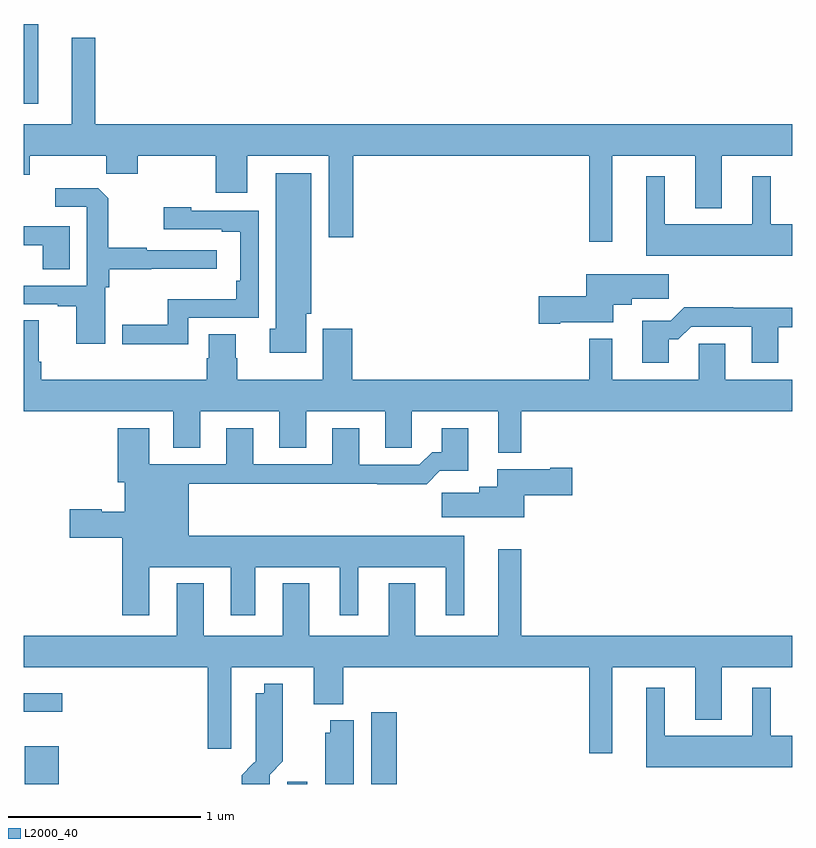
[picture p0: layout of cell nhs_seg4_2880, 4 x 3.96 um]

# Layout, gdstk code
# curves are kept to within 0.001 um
import gdstk
lib = gdstk.Library(unit=1e-6, precision=1e-09)
def R(c, l, rs):  # rectangles x0, y0, x1, y1
    for r in rs: c.add(gdstk.rectangle(r[:2], r[2:], *l))
def P(c, l, *ps):  # polygons
    for p in ps: c.add(gdstk.Polygon(p, *l))
L2000_40 = (2000, 40)

nhs_seg4_2880 = lib.new_cell('nhs_seg4_2880')
R(nhs_seg4_2880, L2000_40, [(263.003,774.9,263.182,775.096), (264.371,774.9,264.475,774.913), (264.809,774.9,264.941,775.273), (263,775.275,263.2,775.372), (263,778.443,263.074,778.858)])
P(nhs_seg4_2880, L2000_40, [(266.065,778.172),(266.495,778.172),(266.495,777.899),(266.635,777.899),(266.635,778.172),(267,778.172),(267,778.336),(263.371,778.336),(263.371,778.786),(263.249,778.786),(263.249,778.336),(263,778.336),(263,778.073),(263.029,778.073),(263.029,778.172),(263.429,778.172),(263.429,778.079),(263.593,778.079),(263.593,778.172),(263.999,778.172),(263.999,777.978),(264.163,777.978),(264.163,778.172),(264.587,778.172),(264.587,777.747),(264.716,777.747),(264.716,778.172),(265.944,778.172),(265.944,777.723),(266.065,777.723)],
  [(264.469,777.348),(264.496,777.348),(264.496,778.081),(264.311,778.081),(264.311,777.272),(264.281,777.272),(264.281,777.146),(264.469,777.146)],
  [(267,777.814),(266.89,777.814),(266.89,778.066),(266.792,778.066),(266.792,777.814),(266.338,777.814),(266.338,778.066),(266.24,778.066),(266.24,777.65),(267,777.65)],
  [(263.424,777.488),(263.444,777.488),(263.444,777.58),(263.663,777.58),(263.663,777.584),(264.004,777.584),(264.004,777.681),(263.639,777.681),(263.639,777.694),(263.439,777.694),(263.439,777.951),(263.387,778.003),(263.163,778.003),(263.163,777.906),(263.328,777.906),(263.328,777.495),(263,777.495),(263,777.399),(263.177,777.399),(263.177,777.387),(263.273,777.387),(263.273,777.192),(263.424,777.192)],
  [(263.856,777.327),(264.222,777.327),(264.222,777.885),(263.871,777.885),(263.871,777.904),(263.727,777.904),(263.727,777.789),(264.029,777.789),(264.029,777.777),(264.126,777.777),(264.126,777.52),(264.106,777.52),(264.106,777.424),(263.748,777.424),(263.748,777.293),(263.511,777.293),(263.511,777.191),(263.856,777.191)],
  [(263.239,777.806),(263,777.806),(263,777.705),(263.099,777.705),(263.099,777.58),(263.239,777.58)],
  [(265.792,777.305),(266.068,777.305),(266.068,777.395),(266.164,777.395),(266.164,777.427),(266.359,777.427),(266.359,777.556),(265.928,777.556),(265.928,777.44),(265.68,777.44),(265.68,777.298),(265.792,777.298)],
  [(266.359,777.215),(266.408,777.215),(266.475,777.282),(266.789,777.282),(266.789,777.093),(266.929,777.093),(266.929,777.279),(267,777.279),(267,777.38),(266.693,777.38),(266.693,777.383),(266.438,777.383),(266.368,777.313),(266.219,777.313),(266.219,777.093),(266.359,777.093)],
  [(265.591,776.84),(267,776.84),(267,777.004),(266.653,777.004),(266.653,777.194),(266.514,777.194),(266.514,777.004),(266.065,777.004),(266.065,777.22),(265.944,777.22),(265.944,777.004),(264.71,777.004),(264.71,777.271),(264.557,777.271),(264.557,777.004),(264.111,777.004),(264.111,777.117),(264.103,777.117),(264.103,777.242),(263.963,777.242),(263.963,777.117),(263.951,777.117),(263.951,777.004),(263.09,777.004),(263.09,777.1),(263.077,777.1),(263.077,777.314),(263,777.314),(263,776.84),(263.777,776.84),(263.777,776.65),(263.917,776.65),(263.917,776.84),(264.329,776.84),(264.329,776.65),(264.469,776.65),(264.469,776.84),(264.881,776.84),(264.881,776.65),(265.02,776.65),(265.02,776.84),(265.469,776.84),(265.469,776.624),(265.591,776.624)],
  [(263.653,776.03),(264.077,776.03),(264.077,775.779),(264.205,775.779),(264.205,776.03),(264.644,776.03),(264.644,775.779),(264.742,775.779),(264.742,776.03),(265.196,776.03),(265.196,775.779),(265.294,775.779),(265.294,776.194),(263.857,776.194),(263.857,776.464),(264.841,776.464),(264.841,776.462),(265.097,776.462),(265.166,776.531),(265.315,776.531),(265.315,776.752),(265.175,776.752),(265.175,776.629),(265.126,776.629),(265.059,776.562),(264.745,776.562),(264.745,776.752),(264.605,776.752),(264.605,776.565),(264.193,776.565),(264.193,776.752),(264.053,776.752),(264.053,776.565),(263.653,776.565),(263.653,776.752),(263.489,776.752),(263.489,776.472),(263.525,776.472),(263.525,776.317),(263.405,776.317),(263.405,776.33),(263.238,776.33),(263.238,776.183),(263.513,776.183),(263.513,775.779),(263.653,775.779)],
  [(265.606,776.405),(265.855,776.405),(265.855,776.547),(265.742,776.547),(265.742,776.539),(265.466,776.539),(265.466,776.449),(265.37,776.449),(265.37,776.417),(265.176,776.417),(265.176,776.288),(265.606,776.288)],
  [(266.065,775.508),(266.495,775.508),(266.495,775.235),(266.635,775.235),(266.635,775.508),(267,775.508),(267,775.672),(265.591,775.672),(265.591,776.122),(265.469,776.122),(265.469,775.672),(265.039,775.672),(265.039,775.945),(264.899,775.945),(264.899,775.672),(264.487,775.672),(264.487,775.945),(264.347,775.945),(264.347,775.672),(263.935,775.672),(263.935,775.945),(263.795,775.945),(263.795,775.672),(263,775.672),(263,775.508),(263.957,775.508),(263.957,775.083),(264.079,775.083),(264.079,775.508),(264.509,775.508),(264.509,775.316),(264.662,775.316),(264.662,775.508),(265.944,775.508),(265.944,775.059),(266.065,775.059)],
  [(264.279,774.948),(264.349,775.018),(264.348,775.423),(264.251,775.423),(264.251,775.372),(264.206,775.372),(264.206,775.018),(264.134,774.946),(264.134,774.9),(264.279,774.9)],
  [(267,775.15),(266.89,775.15),(266.89,775.402),(266.792,775.402),(266.792,775.15),(266.338,775.15),(266.338,775.402),(266.24,775.402),(266.24,774.986),(267,774.986)],
  [(264.718,775.231),(264.596,775.231),(264.596,775.167),(264.569,775.167),(264.569,774.9),(264.718,774.9)])

lib.write_gds('nhs_seg4_2880.gds')
